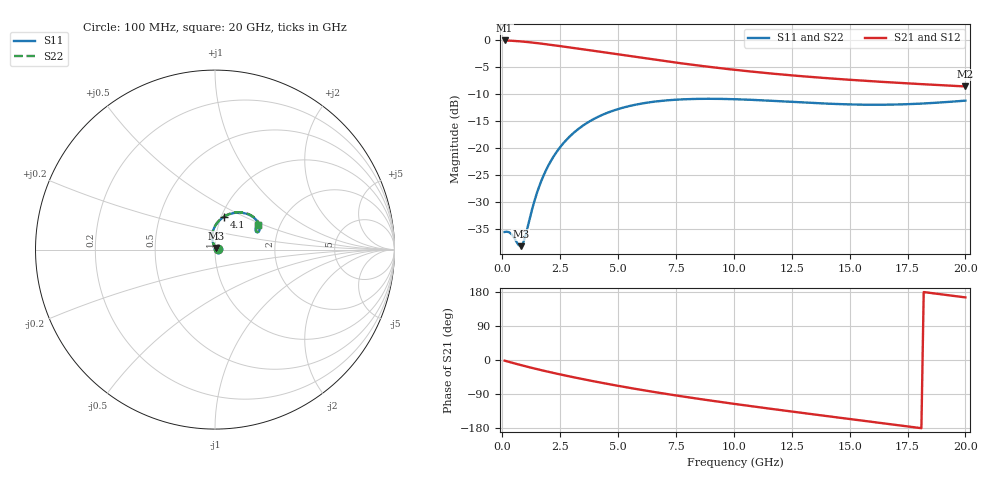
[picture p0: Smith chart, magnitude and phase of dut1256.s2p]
! Touchstone file exported from HFSS 2024.1.0
!  File:  C:/UserFiles/LocalFiles/RDL_TSV_Batchsim/temp_RDL_TSV_1256_1780271026.aedt
!  Generated:  07:57:34 AM Jun  1, 2026
!  Design:  RDL_TSV
!  Project:  temp_RDL_TSV_1256_1780271026
!  Setup:  Setup1
!  Solution:  Sweep
! Variables:
!  dtsv = 13.02um
!  hbump = 3um
!  htsv = 55.95um
!  ldown = 598.19um
!  lrdl = 280.74um
!  p = 40
!  p1 = 46.98um
!  rhole = 10um
!  subl = 2917.53um
!  t = 450um
!  tdown = 3.3um
!  trdl = 2.86um
!  viad = 10um
!  wdown = 18.88um
!  wrdl = 23.26um
!  xbump = 18um
# GHz S MA R 50.000000
! Terminal data exported
! Port[1] = TM1_1_T1
! Port[2] = TM1_4_T1
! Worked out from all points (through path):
!   200 points, 100 MHz to 20 GHz, reference 50 ohm
!   highest |S21| = -0.15 dB at 100 MHz (marker M1); lowest = -8.7 dB at 20 GHz (marker M2)
!   group delay of S21, straight-line fit = 25.5 ps
!   lowest |S11| = -38.3 dB at 800 MHz (marker M3), VSWR 1.02, Z = 50.7 + j0.988 ohm
!   |S11| at or under -10 dB: start of sweep to end of sweep
!   |S22| runs from -38.3 to -10.9 dB; largest |S21 - S12| = 1.7e-14
!   S11 on the Smith chart (normalised r, x): 100 MHz: 1.03, +0.00; 4.1 GHz: 1.03, +0.39; 20 GHz: 1.54, +0.45
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0.1  0.01655 4.7  0.983 -1.7  0.983 -1.7  0.01655 4.7
! Gamma 0 0 0 0
! Port Impedance 50 0 50 0
0.4  0.0158 15.1  0.9769 -6.9  0.9769 -6.9  0.01578 15.2
0.7  0.01255 38.1  0.9671 -11.8  0.9671 -11.8  0.01252 38.4
0.8  0.01222 52.8  0.9632 -13.4  0.9632 -13.4  0.0122 53.2
0.9  0.01307 68.7  0.959 -15.0  0.959 -15.0  0.01308 69.2
1  0.01525 82.5  0.9546 -16.5  0.9546 -16.5  0.0153 83.0
1.3  0.02748 102.6  0.9398 -21.1  0.9398 -21.1  0.02764 103.0
1.5  0.03824 105.9  0.9291 -24.1  0.9291 -24.1  0.03847 106.2
1.7  0.05006 106.0  0.9179 -27.0  0.9179 -27.0  0.05037 106.3
2  0.06887 103.6  0.9006 -31.3  0.9006 -31.3  0.06929 103.8
2.3  0.08819 99.7  0.8831 -35.4  0.8831 -35.4  0.08873 99.9
2.7  0.1137 93.9  0.8596 -40.7  0.8596 -40.7  0.1144 94.1
3.5  0.1609 82.2  0.8132 -50.8  0.8132 -50.8  0.1619 82.4
4.1  0.1912 74.1  0.7794 -58.0  0.7794 -58.0  0.1924 74.3
5.3  0.2372 60.1  0.715 -71.4  0.715 -71.4  0.2389 60.4
6.8  0.27 46.4  0.6429 -86.8  0.6429 -86.8  0.2721 46.7
8.4  0.2826 35.7  0.5785 -101.8  0.5785 -101.8  0.2851 36.0
10.1  0.2804 28.0  0.524 -116.5  0.524 -116.5  0.2831 28.3
11.7  0.271 23.7  0.4838 -129.6  0.4838 -129.6  0.2738 24.0
13.4  0.2592 22.1  0.4502 -143.1  0.4502 -143.1  0.2622 22.3
16.7  0.2499 25.2  0.4029 -169.0  0.4029 -169.0  0.2529 25.2
20  0.2724 29.6  0.3685 165.2  0.3685 165.2  0.2752 29.6
